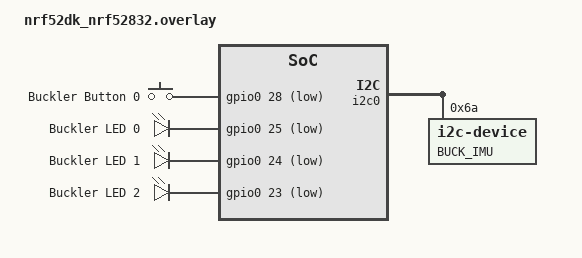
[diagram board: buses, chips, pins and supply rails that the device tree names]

   
    // Define pin configuration if necessary
    &i2c0 {
        status = "okay"; // Ensure the I2C controller is enabled
        mysensor: mysensor@6a{
            compatible = "zephyr,i2c-device";
            reg = <0x6A>;
            label = "BUCK_IMU";        
        };
    };
    
    &i2c0_default {
        group1 {
            psels = <NRF_PSEL(TWIM_SDA, 0, 20)>,
                    <NRF_PSEL(TWIM_SCL, 0, 19)>;
        };
    };
    
    &i2c0_sleep {
        group1 {
            psels = <NRF_PSEL(TWIM_SDA, 0, 20)>,
                    <NRF_PSEL(TWIM_SCL, 0, 19)>;
            low-power-enable;
        };
    };
    
    
/{
    buttons {
        compatible = "gpio-keys";        

        bucklerbutton0: gpio-pin28 {
            gpios = <&gpio0 28 (GPIO_PULL_UP | GPIO_ACTIVE_LOW)>;
            label = "Buckler Button 0";
            zephyr,code = <INPUT_KEY_0>;
        };
    };

    leds {
        compatible = "gpio-leds";

        bucklerled0: gpio-pin25 {
            gpios = <&gpio0 25 GPIO_ACTIVE_LOW>;
            label = "Buckler LED 0";
        };

        bucklerled1: gpio-pin24 {
            gpios = <&gpio0 24 GPIO_ACTIVE_LOW>;
            label = "Buckler LED 1";
        };

        bucklerled2: gpio-pin23 {
            gpios = <&gpio0 23 GPIO_ACTIVE_LOW>;
            label = "Buckler LED 2";
        };
    };

    aliases {
        bucklerbutton0 = &bucklerbutton0;
        bucklerled0 = &bucklerled0;
        bucklerled1 = &bucklerled1;
        bucklerled2 = &bucklerled2;
    };
};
